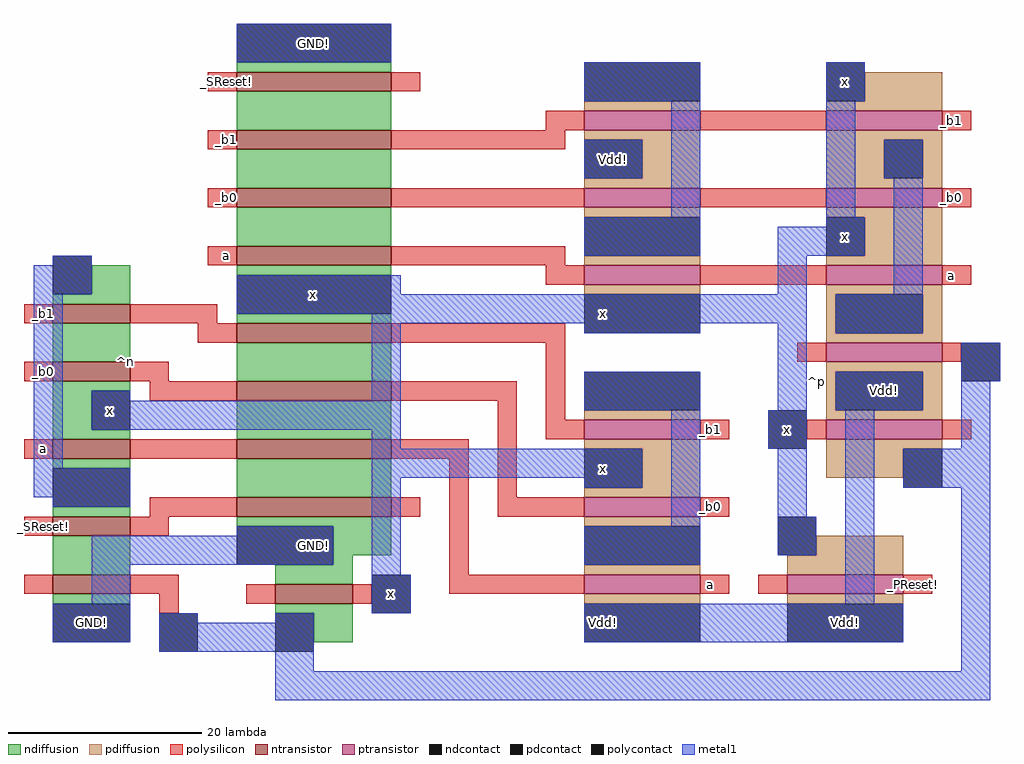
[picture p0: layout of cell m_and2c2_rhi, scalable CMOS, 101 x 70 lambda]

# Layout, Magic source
magic
tech scmos
<< ndiffusion >>
rect 21 116 37 117
rect 21 110 37 114
rect 21 104 37 108
rect 21 98 37 102
rect 6 93 10 96
rect 2 92 10 93
rect 21 95 37 96
rect 21 90 37 91
rect 2 86 10 90
rect 21 84 37 88
rect 2 83 10 84
rect 2 79 6 83
rect 2 78 10 79
rect 21 78 37 82
rect 2 75 10 76
rect 21 72 37 76
rect 2 70 10 71
rect 21 69 37 70
rect 2 64 10 68
rect 31 66 37 69
rect 31 65 33 66
rect 25 63 33 65
rect 2 61 10 62
rect 25 60 33 61
rect 29 57 33 60
<< pdiffusion >>
rect 57 112 69 113
rect 86 113 94 116
rect 82 112 94 113
rect 57 109 69 110
rect 63 105 69 109
rect 57 104 69 105
rect 82 109 94 110
rect 82 105 88 109
rect 92 105 94 109
rect 82 104 94 105
rect 57 101 69 102
rect 57 96 69 97
rect 82 101 94 102
rect 86 97 94 101
rect 82 96 94 97
rect 57 93 69 94
rect 82 93 94 94
rect 82 89 83 93
rect 92 89 94 93
rect 82 88 94 89
rect 82 85 94 86
rect 82 81 83 85
rect 92 81 94 85
rect 57 80 69 81
rect 57 77 69 78
rect 82 80 94 81
rect 82 77 94 78
rect 63 73 69 77
rect 82 74 90 77
rect 57 72 69 73
rect 57 69 69 70
rect 81 66 90 68
rect 57 64 69 65
rect 78 64 90 66
rect 57 61 69 62
rect 78 61 90 62
<< ntransistor >>
rect 21 114 37 116
rect 21 108 37 110
rect 21 102 37 104
rect 21 96 37 98
rect 2 90 10 92
rect 21 88 37 90
rect 2 84 10 86
rect 21 82 37 84
rect 2 76 10 78
rect 21 76 37 78
rect 21 70 37 72
rect 2 68 10 70
rect 2 62 10 64
rect 25 61 33 63
<< ptransistor >>
rect 57 110 69 112
rect 82 110 94 112
rect 57 102 69 104
rect 82 102 94 104
rect 57 94 69 96
rect 82 94 94 96
rect 82 86 94 88
rect 57 78 69 80
rect 82 78 94 80
rect 57 70 69 72
rect 57 62 69 64
rect 78 62 90 64
<< polysilicon >>
rect 18 114 21 116
rect 37 114 40 116
rect 53 110 57 112
rect 69 110 82 112
rect 94 110 97 112
rect 18 108 21 110
rect 37 108 55 110
rect 18 102 21 104
rect 37 102 57 104
rect 69 102 82 104
rect 94 102 97 104
rect 18 96 21 98
rect 37 96 55 98
rect -1 90 2 92
rect 10 90 19 92
rect 53 94 57 96
rect 69 94 82 96
rect 94 94 97 96
rect 17 88 21 90
rect 37 88 55 90
rect -1 84 2 86
rect 10 84 14 86
rect 12 82 21 84
rect 37 82 50 84
rect -1 76 2 78
rect 10 76 21 78
rect 37 76 45 78
rect 12 70 21 72
rect 37 70 40 72
rect -1 68 2 70
rect 10 68 14 70
rect -1 62 2 64
rect 10 62 15 64
rect 43 64 45 76
rect 48 72 50 82
rect 53 80 55 88
rect 79 86 82 88
rect 94 86 96 88
rect 53 78 57 80
rect 69 78 72 80
rect 80 78 82 80
rect 94 78 97 80
rect 48 70 57 72
rect 69 70 72 72
rect 13 60 15 62
rect 22 61 25 63
rect 33 61 35 63
rect 43 62 57 64
rect 69 62 72 64
rect 75 62 78 64
rect 90 62 93 64
<< ndcontact >>
rect 21 117 37 121
rect 2 93 6 97
rect 21 91 37 95
rect 6 79 10 83
rect 2 71 10 75
rect 21 65 31 69
rect 2 57 10 61
rect 25 56 29 60
<< pdcontact >>
rect 57 113 69 117
rect 82 113 86 117
rect 57 105 63 109
rect 88 105 92 109
rect 57 97 69 101
rect 82 97 86 101
rect 57 89 69 93
rect 83 89 92 93
rect 57 81 69 85
rect 83 81 92 85
rect 57 73 63 77
rect 90 73 94 77
rect 57 65 69 69
rect 77 66 81 70
rect 57 57 69 61
rect 78 57 90 61
<< polycontact >>
rect 96 84 100 88
rect 76 77 80 81
rect 35 60 39 64
rect 13 56 17 60
<< metal1 >>
rect 21 117 37 121
rect 57 113 69 117
rect 57 105 63 109
rect 66 101 69 113
rect 57 97 69 101
rect 82 113 86 117
rect 82 101 85 113
rect 88 105 92 109
rect 82 100 86 101
rect 77 97 86 100
rect 2 96 6 97
rect 0 93 6 96
rect 21 93 38 95
rect 77 93 80 97
rect 89 93 92 105
rect 0 75 3 93
rect 21 91 80 93
rect 35 90 80 91
rect 6 82 10 83
rect 35 82 38 90
rect 57 89 69 90
rect 6 79 38 82
rect 57 81 69 85
rect 77 81 80 90
rect 83 89 92 93
rect 83 81 92 85
rect 96 84 100 88
rect 35 77 38 79
rect 0 72 10 75
rect 2 71 10 72
rect 35 74 63 77
rect 21 68 31 69
rect 6 65 31 68
rect 6 61 10 65
rect 2 57 10 61
rect 35 64 38 74
rect 57 73 63 74
rect 66 69 69 81
rect 76 77 80 81
rect 57 65 69 69
rect 77 70 80 77
rect 77 66 81 70
rect 35 60 39 64
rect 84 61 87 81
rect 96 77 99 84
rect 90 73 99 77
rect 13 59 17 60
rect 25 59 29 60
rect 13 56 29 59
rect 57 57 90 61
rect 25 54 29 56
rect 96 54 99 73
rect 25 51 99 54
<< labels >>
rlabel polysilicon 20 109 20 109 1 _b1
rlabel polysilicon 20 103 20 103 1 _b0
rlabel polysilicon 20 97 20 97 1 a
rlabel polysilicon 20 115 20 115 1 _SReset!
rlabel polysilicon 1 91 1 91 1 _b1
rlabel polysilicon 1 85 1 85 1 _b0
rlabel polysilicon 1 77 1 77 1 a
rlabel polysilicon 1 69 1 69 3 _SReset!
rlabel polysilicon 70 63 70 63 7 a
rlabel polysilicon 70 79 70 79 1 _b1
rlabel polysilicon 70 71 70 71 1 _b0
rlabel polysilicon 95 111 95 111 7 _b1
rlabel polysilicon 95 103 95 103 7 _b0
rlabel polysilicon 95 95 95 95 7 a
rlabel polysilicon 91 63 91 63 1 _PReset!
rlabel space 62 50 100 118 3 ^p
rlabel space -2 50 21 122 7 ^n
rlabel ndcontact 29 93 29 93 1 x
rlabel ndcontact 29 119 29 119 1 GND!
rlabel ndcontact 29 67 29 67 1 GND!
rlabel ndcontact 8 81 8 81 1 x
rlabel polycontact 37 62 37 62 1 x
rlabel pdcontact 59 75 59 75 1 x
rlabel pdcontact 59 91 59 91 1 x
rlabel pdcontact 59 59 59 59 1 Vdd!
rlabel pdcontact 84 115 84 115 5 x
rlabel pdcontact 84 99 84 99 1 x
rlabel pdcontact 88 83 88 83 1 Vdd!
rlabel polycontact 78 79 78 79 1 x
rlabel pdcontact 84 59 84 59 1 Vdd!
rlabel pdcontact 60 107 60 107 1 Vdd!
rlabel ndcontact 6 59 6 59 1 GND!
<< end >>
